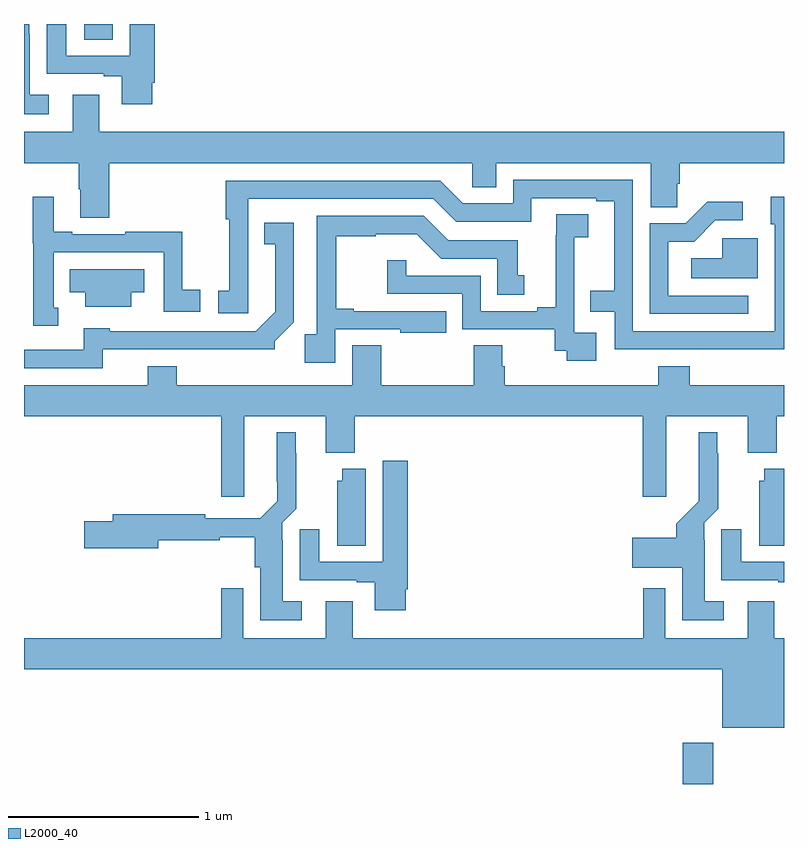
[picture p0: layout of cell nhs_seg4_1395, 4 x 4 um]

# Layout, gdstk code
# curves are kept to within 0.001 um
import gdstk
lib = gdstk.Library(unit=1e-6, precision=1e-09)
def R(c, l, rs):  # rectangles x0, y0, x1, y1
    for r in rs: c.add(gdstk.rectangle(r[:2], r[2:], *l))
def P(c, l, *ps):  # polygons
    for p in ps: c.add(gdstk.Polygon(p, *l))
L2000_40 = (2000, 40)

nhs_seg4_1395 = lib.new_cell('nhs_seg4_1395')
R(nhs_seg4_1395, L2000_40, [(186.467,778.9,186.627,779.116), (183.317,782.818,183.466,782.9)])
P(nhs_seg4_1395, L2000_40, [(183.13,782.527),(183.031,782.527),(183.031,782.846),(183.027,782.846),(183.027,782.9),(183,782.9),(183,782.426),(183.13,782.426)],
  [(183.676,782.59),(183.689,782.59),(183.689,782.9),(183.557,782.9),(183.557,782.733),(183.223,782.733),(183.223,782.9),(183.119,782.9),(183.119,782.637),(183.419,782.637),(183.419,782.625),(183.515,782.625),(183.515,782.478),(183.676,782.478)],
  [(183.397,782.527),(183.257,782.527),(183.257,782.332),(183,782.332),(183,782.168),(183.289,782.168),(183.289,782.03),(183.296,782.03),(183.296,781.879),(183.449,781.879),(183.449,782.168),(185.358,782.168),(185.358,782.041),(185.485,782.041),(185.485,782.168),(186.299,782.168),(186.299,781.936),(186.438,781.936),(186.438,782.059),(186.452,782.059),(186.452,782.168),(187,782.168),(187,782.332),(183.397,782.332)],
  [(187,781.99),(186.929,781.99),(186.929,781.845),(186.951,781.845),(186.951,781.284),(186.204,781.284),(186.204,782.079),(185.574,782.079),(185.574,781.956),(185.31,781.956),(185.19,782.076),(184.063,782.076),(184.063,781.873),(184.081,781.873),(184.081,781.497),(184.023,781.497),(184.023,781.377),(184.18,781.377),(184.179,781.98),(185.154,781.98),(185.274,781.86),(185.67,781.86),(185.67,781.983),(186.011,781.983),(186.011,781.968),(186.107,781.968),(186.107,781.495),(185.98,781.495),(185.98,781.386),(186.108,781.386),(186.108,781.188),(187,781.187)],
  [(183.181,781.407),(183.156,781.407),(183.156,781.698),(183.735,781.698),(183.735,781.386),(183.928,781.386),(183.928,781.502),(183.834,781.502),(183.834,781.807),(183.532,781.807),(183.532,781.794),(183.253,781.794),(183.253,781.807),(183.157,781.807),(183.157,781.99),(183.047,781.99),(183.047,781.745),(183.048,781.745),(183.048,781.313),(183.181,781.313)],
  [(186.811,781.47),(186.39,781.47),(186.39,781.755),(186.528,781.755),(186.639,781.866),(186.784,781.866),(186.784,781.964),(186.596,781.964),(186.483,781.851),(186.294,781.851),(186.294,781.374),(186.811,781.374)],
  [(186.013,781.275),(185.895,781.275),(185.895,781.579),(185.897,781.579),(185.897,781.777),(185.971,781.777),(185.971,781.898),(185.8,781.898),(185.8,781.787),(185.798,781.787),(185.798,781.409),(185.702,781.409),(185.702,781.389),(185.403,781.389),(185.403,781.575),(185.013,781.575),(185.013,781.657),(184.912,781.657),(184.912,781.479),(185.307,781.479),(185.307,781.293),(185.794,781.293),(185.794,781.179),(185.857,781.179),(185.857,781.128),(186.013,781.128)],
  [(184.638,781.293),(184.979,781.293),(184.979,781.274),(185.222,781.274),(185.222,781.389),(184.735,781.389),(184.735,781.402),(184.643,781.402),(184.643,781.782),(184.85,781.782),(184.85,781.793),(185.068,781.793),(185.196,781.665),(185.492,781.665),(185.492,781.474),(185.632,781.474),(185.632,781.578),(185.599,781.578),(185.599,781.761),(185.232,781.761),(185.103,781.89),(184.542,781.89),(184.542,781.267),(184.477,781.267),(184.477,781.116),(184.638,781.116)],
  [(183.414,781.188),(184.32,781.187),(184.32,781.231),(184.419,781.33),(184.419,781.855),(184.264,781.855),(184.264,781.742),(184.322,781.742),(184.322,781.385),(184.221,781.284),(183.45,781.284),(183.45,781.3),(183.314,781.3),(183.314,781.185),(183,781.185),(183,781.089),(183.414,781.089)],
  [(186.862,781.773),(186.675,781.773),(186.675,781.666),(186.513,781.666),(186.513,781.562),(186.862,781.562)],
  [(183.565,781.487),(183.634,781.487),(183.634,781.609),(183.241,781.609),(183.241,781.487),(183.323,781.487),(183.323,781.412),(183.565,781.412)],
  [(185.366,781.208),(185.366,781),(184.88,781),(184.88,781.208),(184.727,781.208),(184.727,781),(183.803,781),(183.803,781.099),(183.65,781.099),(183.65,781),(183,781),(183,780.836),(184.037,780.836),(184.037,780.411),(184.159,780.411),(184.159,780.836),(184.589,780.836),(184.589,780.644),(184.742,780.644),(184.742,780.836),(186.257,780.836),(186.257,780.411),(186.379,780.411),(186.379,780.836),(186.809,780.836),(186.809,780.644),(186.962,780.644),(186.962,780.836),(187,780.836),(187,781),(186.503,781),(186.503,781.099),(186.338,781.099),(186.338,781),(185.531,781),(185.531,781.098),(185.518,781.098),(185.518,781.208)],
  [(186.682,779.863),(186.583,779.863),(186.583,780.182),(186.579,780.182),(186.579,780.276),(186.653,780.35),(186.653,780.641),(186.649,780.641),(186.649,780.751),(186.551,780.751),(186.552,780.388),(186.434,780.27),(186.434,780.196),(186.201,780.196),(186.201,780.038),(186.464,780.038),(186.464,779.762),(186.682,779.762)],
  [(184.462,779.863),(184.363,779.863),(184.363,780.182),(184.359,780.182),(184.359,780.276),(184.433,780.35),(184.433,780.641),(184.429,780.641),(184.429,780.751),(184.331,780.751),(184.332,780.388),(184.244,780.3),(183.953,780.3),(183.953,780.32),(183.467,780.32),(183.467,780.284),(183.318,780.284),(183.318,780.142),(183.706,780.142),(183.706,780.184),(184.03,780.184),(184.03,780.199),(184.214,780.199),(184.214,780.042),(184.244,780.042),(184.244,779.762),(184.462,779.762)],
  [(185.008,779.926),(185.021,779.926),(185.021,780.601),(184.889,780.601),(184.889,780.069),(184.555,780.069),(184.555,780.241),(184.451,780.241),(184.451,779.973),(184.751,779.973),(184.751,779.961),(184.847,779.961),(184.847,779.814),(185.008,779.814)],
  [(184.798,780.559),(184.676,780.559),(184.676,780.495),(184.649,780.495),(184.649,780.154),(184.798,780.154)],
  [(187,780.559),(186.896,780.559),(186.896,780.495),(186.869,780.495),(186.869,780.154),(187,780.154)],
  [(187,780.069),(186.775,780.069),(186.775,780.241),(186.671,780.241),(186.671,779.973),(186.971,779.973),(186.971,779.961),(187,779.961)],
  [(187,779.668),(186.949,779.668),(186.949,779.863),(186.809,779.863),(186.809,779.668),(186.375,779.668),(186.375,779.929),(186.259,779.929),(186.259,779.668),(184.729,779.668),(184.729,779.863),(184.589,779.863),(184.589,779.668),(184.155,779.668),(184.155,779.929),(184.039,779.929),(184.039,779.668),(183,779.668),(183,779.504),(186.674,779.504),(186.674,779.195),(187,779.195)])

lib.write_gds('nhs_seg4_1395.gds')
